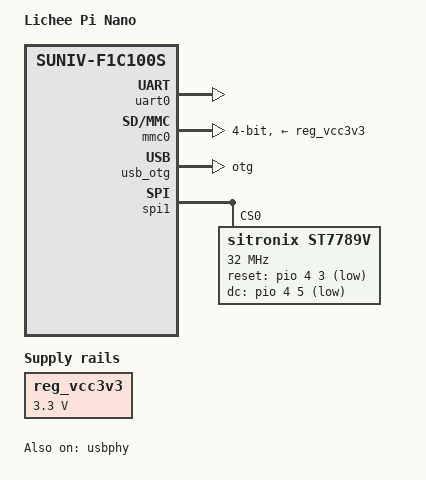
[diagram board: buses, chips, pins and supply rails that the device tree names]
// SPDX-License-Identifier: (GPL-2.0+ OR X11)
/*
 * Copyright 2018 Icenowy Zheng <icenowy@aosc.io>
 */

/dts-v1/;
#include "suniv-f1c100s.dtsi"
#include <dt-bindings/gpio/gpio.h>

/ {
	model = "Lichee Pi Nano";
	compatible = "licheepi,licheepi-nano", "allwinner,suniv-f1c100s";

	aliases {
		serial0 = &uart0;
	};

	chosen {
		stdout-path = "serial0:115200n8";
	};

	reg_vcc3v3: vcc3v3 {
                compatible = "regulator-fixed";
                regulator-name = "vcc3v3";
                regulator-min-microvolt = <3300000>;
                regulator-max-microvolt = <3300000>;
        };

};

&uart0 {
	pinctrl-names = "default";
	pinctrl-0 = <&uart0_pe_pins>;
	status = "okay";
};


&mmc0 {
        vmmc-supply = <&reg_vcc3v3>;
        bus-width = <4>;
        broken-cd;
        status = "okay";
};



&otg_sram {
        status = "okay";
};

&usb_otg {
        dr_mode = "otg";
        status = "okay";
};

&usbphy {
        usb0_id_det-gpio = <&pio 4 2 GPIO_ACTIVE_HIGH>; /* PE2 */
        status = "okay";
};


&spi1 {
    st7789v@0 {
        status = "okay";
        compatible = "sitronix,st7789v";
               reg = <0>;
               spi-max-frequency = <32000000>;
               rotate = <90>;
               spi-cpol;
               spi-cpha;
               rgb;
               fps = <30>;
               buswidth = <8>;
	       reset-gpios=<&pio 4 3 GPIO_ACTIVE_LOW>;
               dc-gpios = <&pio 4 5 GPIO_ACTIVE_LOW>;
               debug = <0>;
        };
}; 
